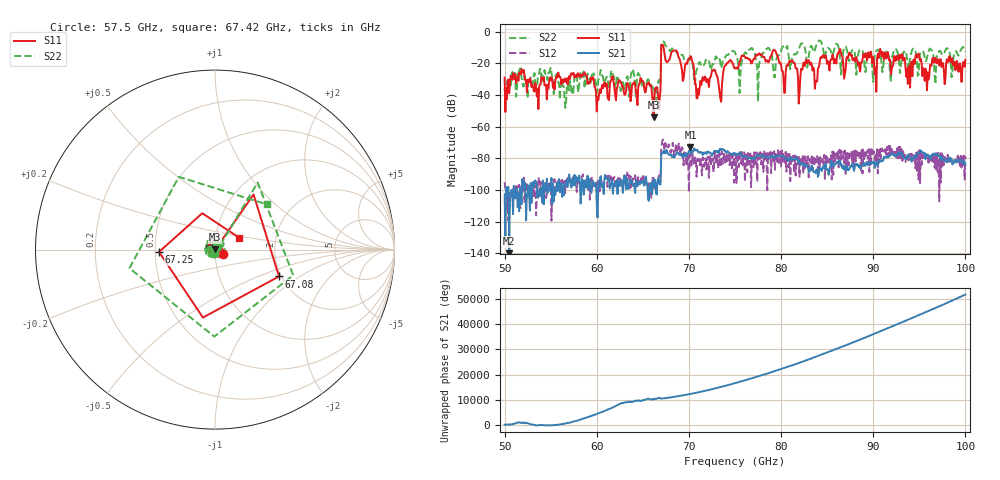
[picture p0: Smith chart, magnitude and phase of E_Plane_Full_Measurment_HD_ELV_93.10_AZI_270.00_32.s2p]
! 11/26/2026 3:31:33 PM
! C:\ANRITSUVNA\TEMP\TEMP.S2P
! CHANNEL.1
! TR.MEASUREMENT
! RAW.DATA
# HZ S RI R 50.0
! FREQ.HZ  S11RE  S11IM  S21RE  S21IM  S12RE  S12IM  S22RE  S22IM
!; PortSelection: Port_12
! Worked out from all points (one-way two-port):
!   601 points, 50 GHz to 100 GHz, reference 50 ohm
!   highest |S21| = -73.01 dB at 70.17 GHz (marker M1); lowest = -140.0 dB at 50.5 GHz (marker M2)
!   lowest |S11| = -54.1 dB at 66.17 GHz (marker M3), VSWR 1.00, Z = 50.1 + j0.142 ohm
!   |S11| at or under -10 dB: start of sweep to 67 GHz; 67.24 GHz to end of sweep
!   |S22| runs from -48.2 to -5.6 dB; largest |S21 - S12| = 0.00047
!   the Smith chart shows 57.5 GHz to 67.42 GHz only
!   S11 on the Smith chart (normalised r, x): 57.5 GHz: 1.09, -0.05; 67.08 GHz: 1.95, -0.69; 67.25 GHz: 0.52, -0.01; 67.42 GHz: 1.29, +0.18
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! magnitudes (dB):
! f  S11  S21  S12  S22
! 50 GHz  -29.0  -102.8  -95.1  -36.0
! 50.5 GHz  -38.9  -140.0  -102.3  -36.1
! 57.5 GHz  -26.2  -97.1  -96.1  -34.6
! 58.42 GHz  -27.1  -93.1  -91.2  -24.7
! 60.17 GHz  -43.3  -98.8  -94.1  -30.4
! 66.17 GHz  -54.1  -93.5  -92.6  -34.0
! 66.67 GHz  -41.5  -92.6  -93.3  -31.6
! 67.08 GHz  -8.3  -76.6  -70.1  -6.8
! 67.25 GHz  -10.1  -76.7  -69.1  -6.2
! 67.42 GHz  -16.5  -76.9  -70.3  -8.3
! 70.17 GHz  -15.4  -73.0  -77.8  -18.5
! 70.92 GHz  -42.1  -74.6  -80.2  -23.1
! 75 GHz  -23.3  -77.4  -77.3  -13.0
! 78.58 GHz  -19.2  -79.3  -76.7  -10.1
! 79.25 GHz  -11.5  -79.7  -75.5  -28.9
! 80.25 GHz  -28.0  -79.1  -76.6  -9.3
! 83.42 GHz  -24.5  -86.3  -87.9  -10.8
! 91.67 GHz  -16.8  -78.4  -72.2  -15.2
! 93.75 GHz  -33.0  -77.6  -77.1  -21.3
! 94.83 GHz  -14.9  -76.7  -75.0  -27.9
! 95.83 GHz  -37.0  -78.3  -79.9  -16.5
! 100 GHz  -17.8  -84.2  -78.6  -12.6
